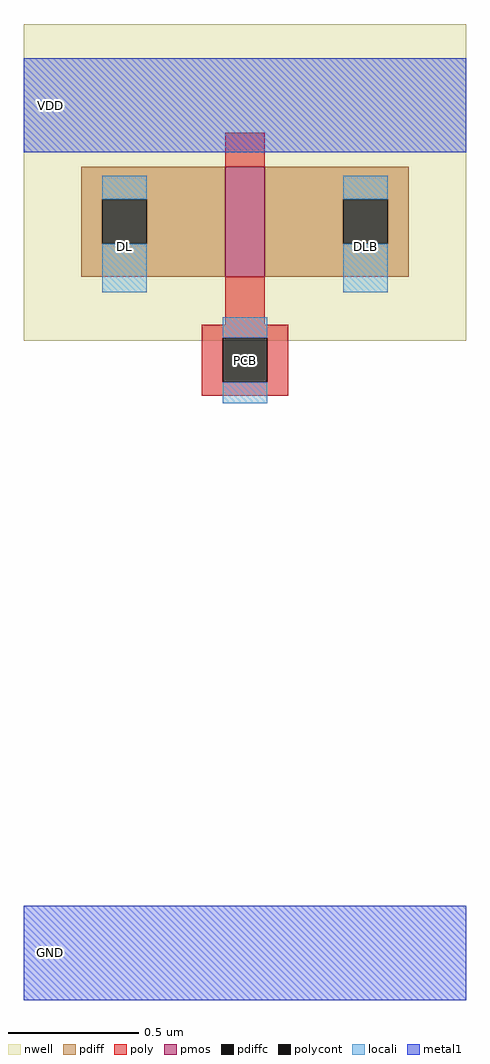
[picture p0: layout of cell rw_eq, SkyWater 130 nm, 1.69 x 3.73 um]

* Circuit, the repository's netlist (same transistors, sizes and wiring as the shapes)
* NGSPICE file created from rw_eq.ext - technology: sky130A

.subckt rw_eq PCB DL DLB VDD GND
X0 DLB PCB DL w_0_468# sky130_fd_pr__pfet_01v8 ad=0.231 pd=1.94 as=0.231 ps=1.94 w=0.42 l=0.15
.ends

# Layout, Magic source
magic
tech sky130A
magscale 1 2
<< nwell >>
rect 0 468 338 710
<< pmos >>
rect 154 517 184 601
<< pdiff >>
rect 44 576 154 601
rect 44 542 60 576
rect 94 542 154 576
rect 44 517 154 542
rect 184 576 294 601
rect 184 542 244 576
rect 278 542 294 576
rect 184 517 294 542
<< pdiffc >>
rect 60 542 94 576
rect 244 542 278 576
<< poly >>
rect 154 601 184 627
rect 154 480 184 517
rect 136 470 202 480
rect 136 436 152 470
rect 186 436 202 470
rect 136 426 202 436
<< polycont >>
rect 152 436 186 470
<< locali >>
rect 60 576 94 594
rect 60 505 94 542
rect 244 576 278 594
rect 244 505 278 542
rect 152 470 186 486
rect 152 420 186 436
<< metal1 >>
rect 0 612 338 684
rect 0 -36 338 36
<< labels >>
rlabel polycont 169 453 169 453 0 PCB
port 1 nsew
rlabel locali 77 540 77 540 0 DL
port 2 nsew
rlabel locali 261 540 261 540 0 DLB
port 3 nsew
rlabel metal1 20 648 20 648 0 VDD
port 4 nsew
rlabel metal1 20 0 20 0 0 GND
port 5 nsew
<< end >>
